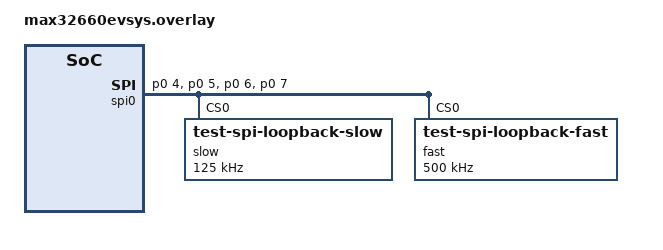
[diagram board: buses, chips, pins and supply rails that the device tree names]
/*
 * Copyright (c) 2026 Analog Devices, Inc.
 *
 * SPDX-License-Identifier: Apache-2.0
 */

&spi0 {
	pinctrl-0 = <&spi0_miso_p0_4 &spi0_mosi_p0_5 &spi0_sck_p0_6 &spi0_ss0_p0_7>;
	pinctrl-names = "default";
	status = "okay";

	slow@0 {
		compatible = "test-spi-loopback-slow";
		reg = <0>;
		spi-max-frequency = <125000>;
	};

	fast@0 {
		compatible = "test-spi-loopback-fast";
		reg = <0>;
		spi-max-frequency = <500000>;
	};
};
